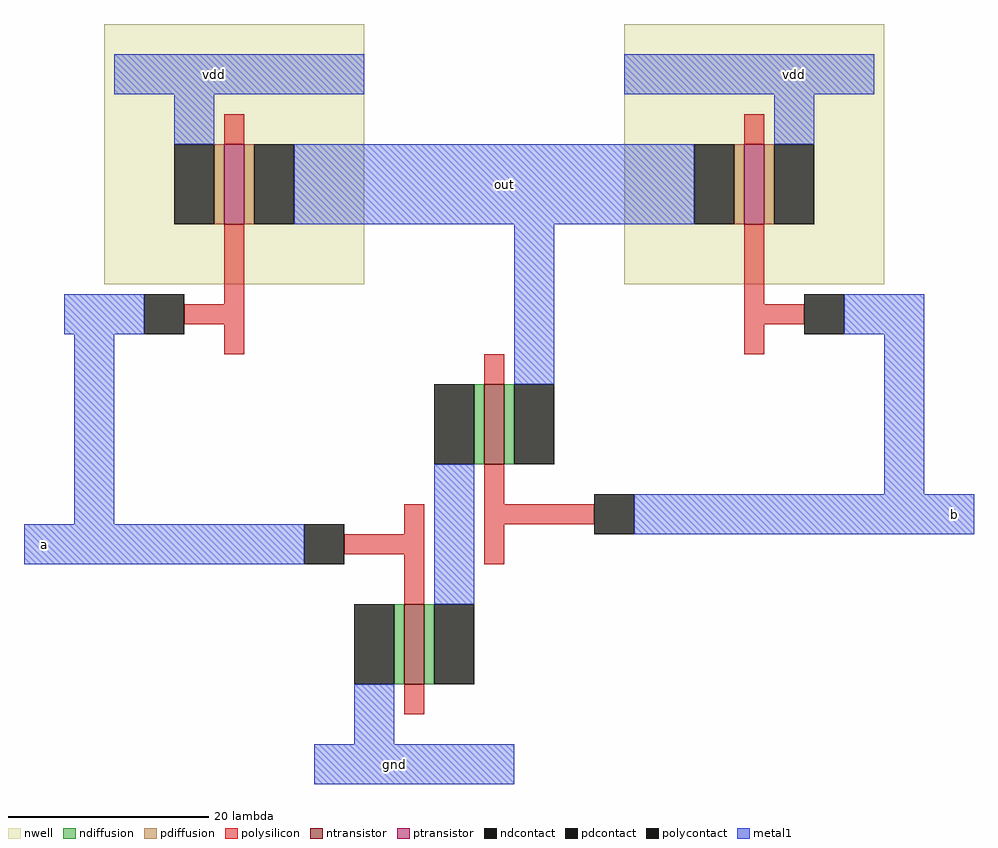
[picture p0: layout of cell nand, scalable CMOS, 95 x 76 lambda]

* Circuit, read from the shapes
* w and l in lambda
.subckt nand a b gnd out vdd
M1 n1 a gnd VSUBS nfet w=8 l=2
M2 out b n1 VSUBS nfet w=8 l=2
M3 out a vdd n2 pfet w=8 l=2
M4 vdd b out n3 pfet w=8 l=2
.ends

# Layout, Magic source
magic
tech scmos
<< nwell >>
rect 0 0 26 26
rect 52 0 78 26
<< ntransistor >>
rect 38 -18 40 -10
rect 30 -40 32 -32
<< ptransistor >>
rect 12 6 14 14
rect 64 6 66 14
<< ndiffusion >>
rect 37 -18 38 -10
rect 40 -18 41 -10
rect 29 -40 30 -32
rect 32 -40 33 -32
<< pdiffusion >>
rect 11 6 12 14
rect 14 6 15 14
rect 63 6 64 14
rect 66 6 67 14
<< ndcontact >>
rect 33 -18 37 -10
rect 41 -18 45 -10
rect 25 -40 29 -32
rect 33 -40 37 -32
<< pdcontact >>
rect 7 6 11 14
rect 15 6 19 14
rect 59 6 63 14
rect 67 6 71 14
<< polysilicon >>
rect 12 14 14 17
rect 64 14 66 17
rect 12 -2 14 6
rect 8 -4 14 -2
rect 12 -7 14 -4
rect 64 -2 66 6
rect 64 -4 70 -2
rect 64 -7 66 -4
rect 38 -10 40 -7
rect 38 -22 40 -18
rect 30 -25 32 -22
rect 24 -27 32 -25
rect 30 -32 32 -27
rect 38 -24 49 -22
rect 38 -28 40 -24
rect 30 -43 32 -40
<< polycontact >>
rect 4 -5 8 -1
rect 70 -5 74 -1
rect 20 -28 24 -24
rect 49 -25 53 -21
<< metal1 >>
rect 1 19 26 23
rect 52 19 77 23
rect 7 14 11 19
rect 67 14 71 19
rect 19 6 59 14
rect -4 -5 4 -1
rect -3 -24 1 -5
rect 41 -10 45 6
rect 74 -5 82 -1
rect -8 -28 20 -24
rect 33 -32 37 -18
rect 78 -21 82 -5
rect 53 -25 87 -21
rect 25 -46 29 -40
rect 21 -50 41 -46
<< labels >>
rlabel metal1 29 -48 29 -48 1 gnd
rlabel metal1 -6 -26 -6 -26 3 a
rlabel metal1 85 -23 85 -23 7 b
rlabel metal1 40 10 40 10 1 out
rlabel metal1 11 21 11 21 5 vdd
rlabel metal1 69 21 69 21 5 vdd
<< end >>
